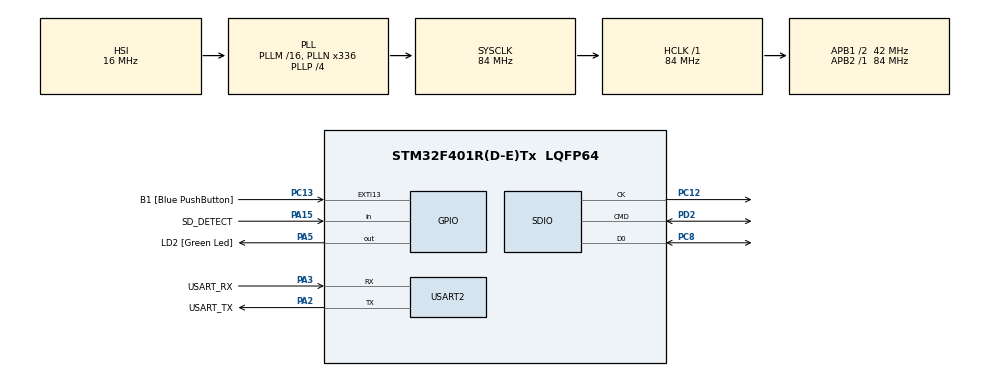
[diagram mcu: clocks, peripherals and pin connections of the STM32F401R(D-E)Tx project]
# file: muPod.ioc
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FATFS.BSP.number=1
FATFS.USE_DMA_CODE_SD=0
FATFS._FS_EXFAT=1
FATFS._USE_CHMOD=1
FATFS._USE_EXPAND=1
FATFS._USE_FIND=1
FATFS._USE_FORWARD=1
FATFS._USE_LABEL=1
FATFS._USE_LFN=1
FATFS0.BSP.STBoard=false
FATFS0.BSP.api=Unknown
FATFS0.BSP.instance=PA15
FATFS0.BSP.ip=GPIO
FATFS0.BSP.mode=Input
FATFS0.BSP.name=Detect_SDIO
FATFS0.BSP.solution=PA15
Mcu.Family=STM32F4
Mcu.Name=STM32F401R(D-E)Tx
Mcu.Package=LQFP64
NVIC.PriorityGroup=NVIC_PRIORITYGROUP_4
PA13.GPIO_Label=TMS
PA13.Mode=Trace_Asynchronous_SW
PA13.Signal=SYS_JTMS-SWDIO
PA14.GPIO_Label=TCK
PA14.Mode=Trace_Asynchronous_SW
PA14.Signal=SYS_JTCK-SWCLK
PA15.GPIO_Label=SD_DETECT
PA15.GPIO_PuPd=GPIO_PULLDOWN
PA15.Signal=GPIO_Input
PA2.GPIO_Label=USART_TX
PA2.GPIO_Mode=GPIO_MODE_AF_PP
PA2.GPIO_PuPd=GPIO_NOPULL
PA2.GPIO_Speed=GPIO_SPEED_FREQ_LOW
PA2.Mode=Asynchronous
PA2.Signal=USART2_TX
PA3.GPIO_Label=USART_RX
PA3.GPIO_Mode=GPIO_MODE_AF_PP
PA3.GPIO_PuPd=GPIO_NOPULL
PA3.GPIO_Speed=GPIO_SPEED_FREQ_LOW
PA3.Mode=Asynchronous
PA3.Signal=USART2_RX
PA5.GPIO_Label=LD2 [Green Led]
PA5.GPIO_Mode=GPIO_MODE_OUTPUT_PP
PA5.GPIO_PuPd=GPIO_NOPULL
PA5.GPIO_Speed=GPIO_SPEED_FREQ_LOW
PA5.Signal=GPIO_Output
PB3.GPIO_Label=SWO
PB3.Mode=Trace_Asynchronous_SW
PB3.Signal=SYS_JTDO-SWO
PC12.Mode=SD_1_bit
PC12.Signal=SDIO_CK
PC13-ANTI_TAMP.GPIO_Label=B1 [Blue PushButton]
PC13-ANTI_TAMP.GPIO_ModeDefaultEXTI=GPIO_MODE_IT_FALLING
PC13-ANTI_TAMP.GPIO_PuPd=GPIO_NOPULL
PC13-ANTI_TAMP.Signal=GPXTI13
PC14-OSC32_IN.Mode=LSE-External-Oscillator
PC14-OSC32_IN.Signal=RCC_OSC32_IN
PC15-OSC32_OUT.Mode=LSE-External-Oscillator
PC15-OSC32_OUT.Signal=RCC_OSC32_OUT
PC8.Mode=SD_1_bit
PC8.Signal=SDIO_D0
PD2.Mode=SD_1_bit
PD2.Signal=SDIO_CMD
PH0\ -\ OSC_IN.Mode=HSE-External-Clock-Source
PH0\ -\ OSC_IN.Signal=RCC_OSC_IN
PH1\ -\ OSC_OUT.Mode=HSE-External-Clock-Source
PH1\ -\ OSC_OUT.Signal=RCC_OSC_OUT
ProjectManager.HeapSize=0x200
ProjectManager.StackSize=0x400
ProjectManager.TargetToolchain=STM32CubeIDE
RCC.48MHZClocksFreq_Value=48000000
RCC.AHBFreq_Value=84000000
RCC.APB1CLKDivider=RCC_HCLK_DIV2
RCC.APB1Freq_Value=42000000
RCC.APB1TimFreq_Value=84000000
RCC.APB2Freq_Value=84000000
RCC.APB2TimFreq_Value=84000000
RCC.CortexFreq_Value=84000000
RCC.HCLKFreq_Value=84000000
RCC.HSE_VALUE=8000000
RCC.HSI_VALUE=16000000
RCC.PLLN=336
RCC.PLLP=RCC_PLLP_DIV4
RCC.PLLQ=7
RCC.SYSCLKFreq_VALUE=84000000
RCC.SYSCLKSource=RCC_SYSCLKSOURCE_PLLCLK
RCC.VCOOutputFreq_Value=336000000
SDIO.ClockBypass=SDIO_CLOCK_BYPASS_DISABLE
SDIO.ClockDiv=0
USART2.VirtualMode=VM_ASYNC
VP_FATFS_VS_SDIO.Mode=SDIO
board=NUCLEO-F401RE

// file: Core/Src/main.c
/* USER CODE BEGIN Header */
/**
 ******************************************************************************
 * @file           : main.c
 * @brief          : Main program body
 ******************************************************************************
 * @attention
 *
 * Copyright (c) 2024 STMicroelectronics.
 * All rights reserved.
 *
 * This software is licensed under terms that can be found in the LICENSE file
 * in the root directory of this software component.
 * If no LICENSE file comes with this software, it is provided AS-IS.
 *
 ******************************************************************************
 */
/* USER CODE END Header */
#include "main.h"
#include "fatfs.h"

/* USER CODE BEGIN Includes */
#include <stdio.h>

#include "microsd.h"
#include "wav.h"
/* USER CODE END Includes */

SD_HandleTypeDef hsd;

UART_HandleTypeDef huart2;

/* USER CODE BEGIN PV */
fs_driver_t *fs;
const codec_t *codec;
/* USER CODE END PV */

void SystemClock_Config(void);
static void MX_GPIO_Init(void);
static void MX_USART2_UART_Init(void);
static void MX_SDIO_SD_Init(void);

/* USER CODE BEGIN 0 */

/*
 * Override the built-in _write syscall
 * This allows printf() to work properly
 * We override _write() instead of write() b/c _write is a common embedded function used to simplify the POSIX write implementation
 * Also bc write() is just a wrapper for _write()
 * Embedded systems typically do not have a built-in write (or _write) because they don't have any concept of a console to write to!
 * So, we add the implementation: transmitting the data across UART, which our debugger's terminal receives
 * The ST-Link chip on the Nucleo dev board acts as a Virtual COM Port (VCP) and converts UART to USB
 * Then, the debugger can link to the COM port and read the incoming data in RS-232 format!
 */
int _write(int file, char *data, int len)
{
    HAL_UART_Transmit(&huart2, (uint8_t*) data, len, HAL_MAX_DELAY);
    return len;
}
/* USER CODE END 0 */

int main(void)
{

    /* MCU Configuration--------------------------------------------------------*/

    /* Reset of all peripherals, Initializes the Flash interface and the Systick. */
    HAL_Init();

    /* Configure the system clock */
    SystemClock_Config();

    /* Initialize all configured peripherals */
    MX_GPIO_Init();
    MX_USART2_UART_Init();
    MX_FATFS_Init();
    MX_SDIO_SD_Init();
    /* USER CODE BEGIN 2 */
    // Select the file system implementation to use
    // This is fairly safe because if the implementation is not defined (i.e., microsd_driver), a compile-time error is thrown
    fs = &microsd_driver;

    if (fs->ops->Open(fs) != FS_SUCCESS)
    {
        Error_Handler();
    }

    printf("SD Card Size (MB): %lu\r\n", fs->fs_size_mb);

    // TODO: fix detection!
    // remove pulldown in ioc
    // see https://community.st.com/t5/stm32-mcus-embedded-software/fatfs-f-mkfs-constantly-returns-fr-not-ready-for-nucleof411re/td-p/717628

    // Select the codec implementation to use
    codec = &wav_codec;

    if (codec->Open() != CODEC_SUCCESS)
    {
        Error_Handler();
    }

    // Read WAV file
    file_t test_wav;

    if (fs->ops->OpenFile(&test_wav, "test.wav") != FS_SUCCESS)
    {
        Error_Handler();
    }

    uint8_t buf[WAV_HEADER_LEN];

    if (fs->ops->ReadFile(&test_wav, &buf, WAV_HEADER_LEN) != FS_SUCCESS)
    {
        Error_Handler();
    }

    wav_metadata_t metadata;
    size_t bytes_read;

    if (codec->ValidateHeader(&buf, &metadata, &bytes_read) != CODEC_SUCCESS)
    {
        Error_Handler();
    }

    /* USER CODE END 2 */

    /* Infinite loop */
    while (1)
    {

    }
}

void SystemClock_Config(void)
{
    RCC_OscInitTypeDef RCC_OscInitStruct =
    { 0 };
    RCC_ClkInitTypeDef RCC_ClkInitStruct =
    { 0 };

    /** Configure the main internal regulator output voltage
     */
    __HAL_RCC_PWR_CLK_ENABLE();
    __HAL_PWR_VOLTAGESCALING_CONFIG(PWR_REGULATOR_VOLTAGE_SCALE2);

    /** Initializes the RCC Oscillators according to the specified parameters
     * in the RCC_OscInitTypeDef structure.
     */
    RCC_OscInitStruct.OscillatorType = RCC_OSCILLATORTYPE_HSI;
    RCC_OscInitStruct.HSIState = RCC_HSI_ON;
    RCC_OscInitStruct.HSICalibrationValue = RCC_HSICALIBRATION_DEFAULT;
    RCC_OscInitStruct.PLL.PLLState = RCC_PLL_ON;
    RCC_OscInitStruct.PLL.PLLSource = RCC_PLLSOURCE_HSI;
    RCC_OscInitStruct.PLL.PLLM = 16;
    RCC_OscInitStruct.PLL.PLLN = 336;
    RCC_OscInitStruct.PLL.PLLP = RCC_PLLP_DIV4;
    RCC_OscInitStruct.PLL.PLLQ = 7;
    if (HAL_RCC_OscConfig(&RCC_OscInitStruct) != HAL_OK)
    {
        Error_Handler();
    }

    /** Initializes the CPU, AHB and APB buses clocks
     */
    RCC_ClkInitStruct.ClockType = RCC_CLOCKTYPE_HCLK | RCC_CLOCKTYPE_SYSCLK
            | RCC_CLOCKTYPE_PCLK1 | RCC_CLOCKTYPE_PCLK2;
    RCC_ClkInitStruct.SYSCLKSource = RCC_SYSCLKSOURCE_PLLCLK;
    RCC_ClkInitStruct.AHBCLKDivider = RCC_SYSCLK_DIV1;
    RCC_ClkInitStruct.APB1CLKDivider = RCC_HCLK_DIV2;
    RCC_ClkInitStruct.APB2CLKDivider = RCC_HCLK_DIV1;

    if (HAL_RCC_ClockConfig(&RCC_ClkInitStruct, FLASH_LATENCY_2) != HAL_OK)
    {
        Error_Handler();
    }
}

static void MX_SDIO_SD_Init(void)
{

    hsd.Instance = SDIO;
    hsd.Init.ClockEdge = SDIO_CLOCK_EDGE_RISING;
    hsd.Init.ClockBypass = SDIO_CLOCK_BYPASS_DISABLE;
    hsd.Init.ClockPowerSave = SDIO_CLOCK_POWER_SAVE_DISABLE;
    hsd.Init.BusWide = SDIO_BUS_WIDE_1B;
    hsd.Init.HardwareFlowControl = SDIO_HARDWARE_FLOW_CONTROL_DISABLE;
    hsd.Init.ClockDiv = 0;

}

static void MX_USART2_UART_Init(void)
{

    huart2.Instance = USART2;
    huart2.Init.BaudRate = 115200;
    huart2.Init.WordLength = UART_WORDLENGTH_8B;
    huart2.Init.StopBits = UART_STOPBITS_1;
    huart2.Init.Parity = UART_PARITY_NONE;
    huart2.Init.Mode = UART_MODE_TX_RX;
    huart2.Init.HwFlowCtl = UART_HWCONTROL_NONE;
    huart2.Init.OverSampling = UART_OVERSAMPLING_16;
    if (HAL_UART_Init(&huart2) != HAL_OK)
    {
        Error_Handler();
    }

}

static void MX_GPIO_Init(void)
{
    GPIO_InitTypeDef GPIO_InitStruct =
    { 0 };

    /* GPIO Ports Clock Enable */
    __HAL_RCC_GPIOC_CLK_ENABLE();
    __HAL_RCC_GPIOH_CLK_ENABLE();
    __HAL_RCC_GPIOA_CLK_ENABLE();
    __HAL_RCC_GPIOD_CLK_ENABLE();
    __HAL_RCC_GPIOB_CLK_ENABLE();

    /*Configure GPIO pin Output Level */
    HAL_GPIO_WritePin(LD2_GPIO_Port, LD2_Pin, GPIO_PIN_RESET);

    /*Configure GPIO pin : B1_Pin */
    GPIO_InitStruct.Pin = B1_Pin;
    GPIO_InitStruct.Mode = GPIO_MODE_IT_FALLING;
    GPIO_InitStruct.Pull = GPIO_NOPULL;
    HAL_GPIO_Init(B1_GPIO_Port, &GPIO_InitStruct);

    /*Configure GPIO pin : LD2_Pin */
    GPIO_InitStruct.Pin = LD2_Pin;
    GPIO_InitStruct.Mode = GPIO_MODE_OUTPUT_PP;
    GPIO_InitStruct.Pull = GPIO_NOPULL;
    GPIO_InitStruct.Speed = GPIO_SPEED_FREQ_LOW;
    HAL_GPIO_Init(LD2_GPIO_Port, &GPIO_InitStruct);

    /*Configure GPIO pin : SD_DETECT_Pin */
    GPIO_InitStruct.Pin = SD_DETECT_Pin;
    GPIO_InitStruct.Mode = GPIO_MODE_INPUT;
    GPIO_InitStruct.Pull = GPIO_PULLDOWN;
    HAL_GPIO_Init(SD_DETECT_GPIO_Port, &GPIO_InitStruct);

}

void Error_Handler(void)
{
    /* USER CODE BEGIN Error_Handler_Debug */
    /* User can add his own implementation to report the HAL error return state */

    // From what I've researched, there's no good way to get more information into this function
    // Instead, we can just use the debugger and reference the call stack to see what called this function
    // Additionally, unique error codes returned by user-written code will make debugging easier
    printf("An error has occurred. Spinning in ErrorHandler...\r\n");

    __disable_irq();
    while (1)
    {
    }
    /* USER CODE END Error_Handler_Debug */
}
